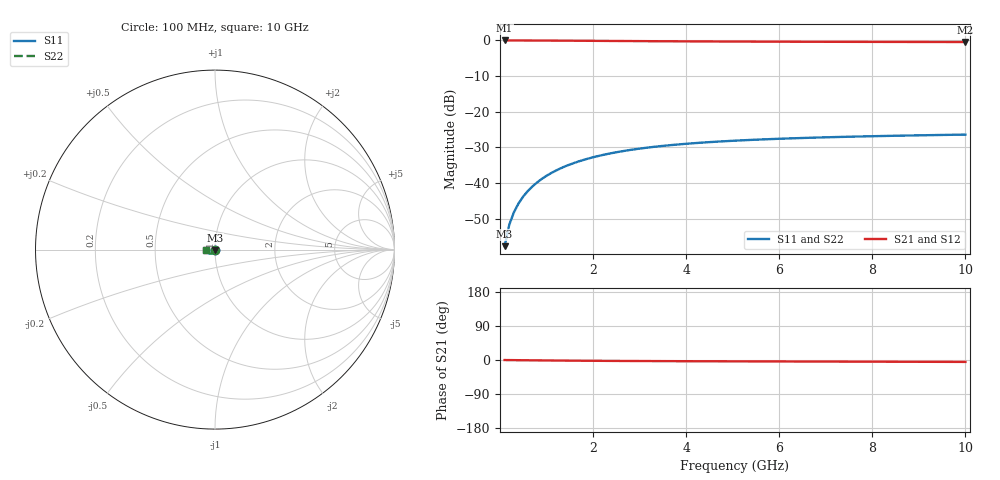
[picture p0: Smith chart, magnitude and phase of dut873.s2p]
! Touchstone file exported from HFSS 2024.1.0
!  File:  C:/UserFiles/LocalFiles/RDL_TSV_Batchsim/temp_TSV1_873_1779883088.aedt
!  Generated:  08:04:21 PM May 27, 2026
!  Design:  TSV1
!  Project:  temp_TSV1_873_1779883088
!  Setup:  Setup1
!  Solution:  Sweep
! Variables:
!  dtsv = 10.91um
!  hbump = 3um
!  htsv = 78.41um
!  lrdl = 252.1521522um
!  p = 40
!  p1 = 48.89um
!  t = 500um
!  trdl = 3um
!  wrdl = 24.89489489um
# GHz S MA R 50.000000
! Terminal data exported
! Port[1] = TSV22_T1
! Port[2] = TSV22_T2
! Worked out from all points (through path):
!   100 points, 100 MHz to 10 GHz, reference 50 ohm
!   highest |S21| = 0.00 dB at 100 MHz (marker M1); lowest = -0.4 dB at 10 GHz (marker M2)
!   lowest |S11| = -57.7 dB at 100 MHz (marker M3), VSWR 1.00, Z = 50 - j0.131 ohm
!   |S11| at or under -10 dB: start of sweep to end of sweep
!   |S22| runs from -57.7 to -26.4 dB; largest |S21 - S12| = 1e-14
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0.1  0.00131 -86.4  0.9998 -0.1  0.9998 -0.1  0.00131 -86.4
! Gamma 0 0 0 0
! Port Impedance 50 0 50 0
0.2  0.002612 -90.6  0.9997 -0.2  0.9997 -0.2  0.002612 -90.6
0.3  0.003915 -93.2  0.9995 -0.4  0.9995 -0.4  0.003915 -93.2
0.4  0.005213 -95.3  0.9992 -0.5  0.9992 -0.5  0.005213 -95.3
0.5  0.006502 -97.3  0.9988 -0.6  0.9988 -0.6  0.006502 -97.3
0.6  0.007778 -99.2  0.9984 -0.7  0.9984 -0.7  0.007778 -99.2
0.7  0.009037 -101.0  0.9979 -0.8  0.9979 -0.8  0.009037 -101.0
0.8  0.01028 -102.8  0.9973 -1.0  0.9973 -1.0  0.01028 -102.8
0.9  0.01149 -104.5  0.9967 -1.1  0.9967 -1.1  0.01149 -104.5
1.1  0.01386 -107.9  0.9954 -1.3  0.9954 -1.3  0.01386 -107.9
1.4  0.01719 -112.8  0.993 -1.6  0.993 -1.6  0.01719 -112.8
1.6  0.01927 -115.8  0.9913 -1.8  0.9913 -1.8  0.01927 -115.8
1.8  0.02122 -118.8  0.9895 -1.9  0.9895 -1.9  0.02122 -118.8
2.1  0.02392 -122.9  0.9867 -2.2  0.9867 -2.2  0.02392 -122.9
2.5  0.02711 -128.0  0.9831 -2.4  0.9831 -2.4  0.02711 -128.0
2.9  0.02986 -132.7  0.9796 -2.7  0.9796 -2.7  0.02986 -132.7
3.4  0.03278 -137.9  0.9755 -2.9  0.9755 -2.9  0.03278 -137.9
4.2  0.03646 -145.0  0.9699 -3.2  0.9699 -3.2  0.03646 -145.0
5.1  0.03956 -151.7  0.9649 -3.6  0.9649 -3.6  0.03956 -151.7
6.7  0.04336 -161.3  0.9584 -4.1  0.9584 -4.1  0.04336 -161.3
8.4  0.04606 -169.2  0.9538 -4.6  0.9538 -4.6  0.04606 -169.2
10  0.04793 -175.4  0.9509 -5.0  0.9509 -5.0  0.04793 -175.4
